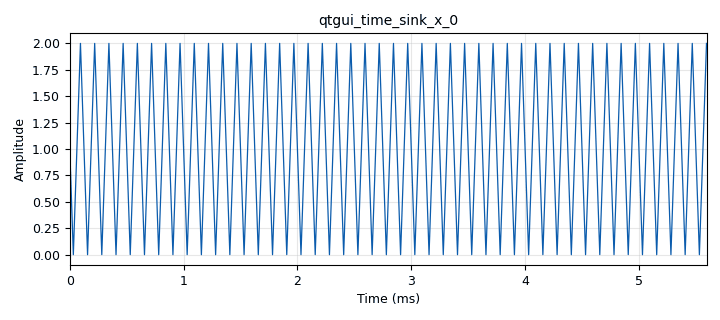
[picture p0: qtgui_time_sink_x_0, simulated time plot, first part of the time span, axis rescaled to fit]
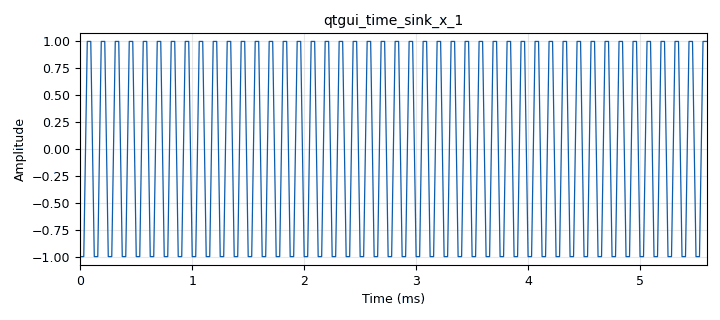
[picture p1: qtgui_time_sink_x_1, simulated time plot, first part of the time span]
options:
  parameters:
    generate_options: qt_gui
    id: Practica_1
    output_language: python
    title: Not titled yet
  states: {}

blocks:
- name: samp_rate
  id: variable
  parameters:
    value: '32000'
  states: {}
- name: analog_sig_source_x_0
  id: analog_sig_source_x
  parameters:
    amp: '10'
    freq: '1000'
    offset: '-5'
    phase: '0'
    samp_rate: samp_rate
    type: float
    waveform: analog.GR_SQR_WAVE
  states: {state: disabled}
- name: blocks_vector_source_x_0
  id: blocks_vector_source_x
  parameters:
    repeat: 'True'
    type: float
    vector: (-1, -1, 1, 1)
  states: {}
- name: epy_block_0
  id: epy_block
  parameters:
    _source_code: |
      """
      Embedded Python Blocks:

      Each time this file is saved, GRC will instantiate the first class it finds
      to get ports and parameters of your block. The arguments to __init__  will
      be the parameters. All of them are required to have default values!
      """

      import numpy as np
      from gnuradio import gr


      class blk(gr.sync_block):  # other base classes are basic_block, decim_block, interp_block
          """Embedded Python Block example - a simple multiply const"""

          def __init__ ( self ) : # only default arguments here
              gr. sync_block . __init__ (
                  self ,
                  name ='e_Acum' , # will show up in GRC
                  in_sig =[ np. float32 ],
                  out_sig =[ np. float32 ]
              )

          def work (self , input_items , output_items ):
              x = input_items [0] # Senial de entrada .
              y0 = output_items [0] # Senial acumulada
              y0 [:] = np. cumsum (x)
              return len (y0)
  states: {}
- name: epy_block_1
  id: epy_block
  parameters:
    _source_code: |-
      import numpy as np
      from gnuradio import gr
      class blk (gr. sync_block ):
          def __init__ ( self ) : # only default arguments here
              gr. sync_block . __init__ (
                  self ,
                  name ='e_Diff', # will show up in GRC
                  in_sig =[ np. float32 ],
                  out_sig =[ np. float32 ]
              )
              self . acum_anterior = 0
              
          def work (self , input_items , output_items ):
              x = input_items [0] # Senial de entrada .
              y0 = output_items [0] # Senial acumulada diferencial
              N = len (x)
              diff = np. cumsum (x) - self . acum_anterior
              self . acum_anterior = diff [N -1]
              y0 [:] = diff
              return len (y0)
  states: {state: disabled}
- name: qtgui_time_sink_x_0
  id: qtgui_time_sink_x
  parameters:
    size: '1024'
    srate: samp_rate
    type: float
  states: {}
- name: qtgui_time_sink_x_1
  id: qtgui_time_sink_x
  parameters:
    size: '1024'
    srate: samp_rate
    type: float
  states: {}

connections:
- [blocks_vector_source_x_0, '0', epy_block_0, '0']
- [blocks_vector_source_x_0, '0', qtgui_time_sink_x_1, '0']
- [epy_block_0, '0', qtgui_time_sink_x_0, '0']
- [epy_block_1, '0', qtgui_time_sink_x_0, '0']

metadata:
  file_format: 1
  grc_version: v3.10.11.0-89-ga17f69e7
